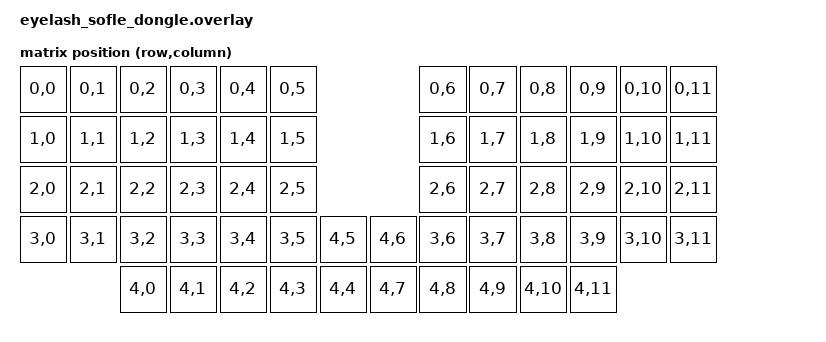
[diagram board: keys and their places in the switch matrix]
/*
*
* Copyright (c) 2021 Darryl deHaan
* SPDX-License-Identifier: MIT
*
*/

#include <dt-bindings/zmk/matrix_transform.h>
#include <layouts/josefadamcik/sofle.dtsi>

&josefadamcik_sofle_layout {
    transform = <&default_transform>;
};

/{
    chosen {
        zmk,kscan = &mock_kscan;
        zmk,physical-layout = &josefadamcik_sofle_layout;
        zephyr,display = &oled;
    };

    mock_kscan: kscan_1 {
        compatible = "zmk,kscan-mock";
        columns = <0>;
        rows = <0>;
        events = <0>;
    };

    default_transform: keymap_transform_0 {
        compatible = "zmk,matrix-transform";
        columns = <16>;
        rows = <4>;
        map = <
RC(0,0) RC(0,1) RC(0,2) RC(0,3) RC(0,4) RC(0,5)                 RC(0,6) RC(0,7) RC(0,8)  RC(0,9) RC(0,10) RC(0,11)
RC(1,0) RC(1,1) RC(1,2) RC(1,3) RC(1,4) RC(1,5)                 RC(1,6) RC(1,7) RC(1,8)  RC(1,9) RC(1,10) RC(1,11)
RC(2,0) RC(2,1) RC(2,2) RC(2,3) RC(2,4) RC(2,5)                 RC(2,6) RC(2,7) RC(2,8)  RC(2,9) RC(2,10) RC(2,11)
RC(3,0) RC(3,1) RC(3,2) RC(3,3) RC(3,4) RC(3,5) RC(4,5) RC(4,6) RC(3,6) RC(3,7) RC(3,8)  RC(3,9) RC(3,10) RC(3,11)
                RC(4,0) RC(4,1) RC(4,2) RC(4,3) RC(4,4) RC(4,7) RC(4,8) RC(4,9) RC(4,10) RC(4,11)
        >;
    };
};

&pinctrl {
    i2c0_default: i2c0_default {
        group1 {
            psels = <NRF_PSEL(TWIM_SDA, 0, 17)>,
                <NRF_PSEL(TWIM_SCL, 0, 20)>;
        };
    };

    i2c0_sleep: i2c0_sleep {
        group1 {
            psels = <NRF_PSEL(TWIM_SDA, 0,17)>,
                <NRF_PSEL(TWIM_SCL, 0, 20)>;
            low-power-enable;
        };
    };	
}; 

&i2c0 {
	status = "okay";
	compatible = "nordic,nrf-twi";
    pinctrl-0 = <&i2c0_default>;
    pinctrl-1 = <&i2c0_sleep>;
	oled: sh1106@3c {
        compatible = "sinowealth,sh1106";
        reg = <0x3c>;
        width = <129>;
        height = <64>;
        segment-offset = <1>;
        page-offset = <0>;
        display-offset = <0>;
        multiplex-ratio = <63>;
        segment-remap;
        com-invdir;
        inversion-on;
        prechargep = <0x22>;
	};
};
